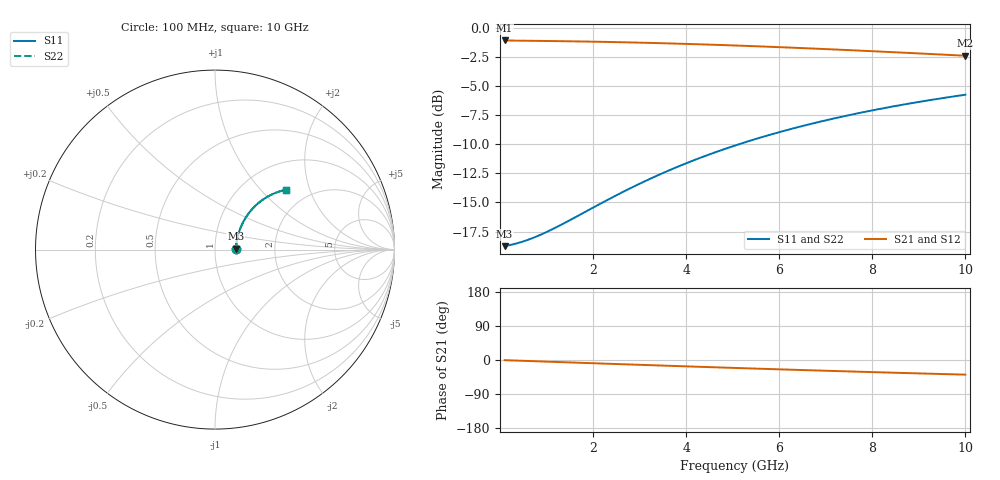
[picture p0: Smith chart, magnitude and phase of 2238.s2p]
# Hz S RI R 50.00
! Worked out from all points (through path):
!   100 points, 100 MHz to 10 GHz, reference 50 ohm
!   highest |S21| = -1.06 dB at 100 MHz (marker M1); lowest = -2.4 dB at 10 GHz (marker M2)
!   group delay of S21, straight-line fit = 10.8 ps
!   lowest |S11| = -18.8 dB at 100 MHz (marker M3), VSWR 1.26, Z = 63 + j0.669 ohm
!   |S11| at or under -10 dB: start of sweep to 5.129 GHz
!   |S22| runs from -18.8 to -5.7 dB; largest |S21 - S12| = 0
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1e8  0.1153 0.00524  0.8847 -0.00663  0.8847 -0.00663  0.1153 0.00524
3e8  0.1167 0.0157  0.8833 -0.0198  0.8833 -0.0198  0.1167 0.0157
5e8  0.1181 0.026  0.8819 -0.033  0.8819 -0.033  0.1181 0.026
8e8  0.1204 0.0415  0.8795 -0.0526  0.8795 -0.0526  0.1204 0.0415
1e9  0.1222 0.0517  0.8777 -0.0657  0.8777 -0.0657  0.1222 0.0517
1.2e9  0.1243 0.0618  0.8756 -0.0786  0.8756 -0.0786  0.1243 0.0618
1.8e9  0.132 0.0917  0.8677 -0.1169  0.8677 -0.1169  0.132 0.0917
2.3e9  0.1402 0.1159  0.8592 -0.148  0.8592 -0.148  0.1402 0.1159
2.7e9  0.148 0.1346  0.8513 -0.1724  0.8513 -0.1724  0.148 0.1346
3.1e9  0.1567 0.1527  0.8423 -0.1961  0.8423 -0.1961  0.1567 0.1527
3.4e9  0.1638 0.1658  0.8349 -0.2134  0.8349 -0.2134  0.1638 0.1658
3.8e9  0.1741 0.1827  0.8243 -0.2359  0.8243 -0.2359  0.1741 0.1827
4.2e9  0.1853 0.1988  0.8129 -0.2576  0.8129 -0.2576  0.1853 0.1988
4.6e9  0.1971 0.2141  0.8006 -0.2785  0.8006 -0.2785  0.1971 0.2141
5.1e9  0.2129 0.232  0.7843 -0.3035  0.7843 -0.3035  0.2129 0.232
5.5e9  0.2262 0.2453  0.7706 -0.3225  0.7706 -0.3225  0.2262 0.2453
5.9e9  0.24 0.2577  0.7563 -0.3406  0.7563 -0.3406  0.24 0.2577
6.7e9  0.2689 0.2798  0.7264 -0.374  0.7264 -0.374  0.2689 0.2798
7.5e9  0.2989 0.2982  0.6951 -0.4038  0.6951 -0.4038  0.2989 0.2982
8.4e9  0.3335 0.3146  0.659 -0.4331  0.659 -0.4331  0.3335 0.3146
9.2e9  0.3645 0.3255  0.6265 -0.4556  0.6265 -0.4556  0.3645 0.3255
1e10  0.3952 0.3332  0.594 -0.4749  0.594 -0.4749  0.3952 0.3332
